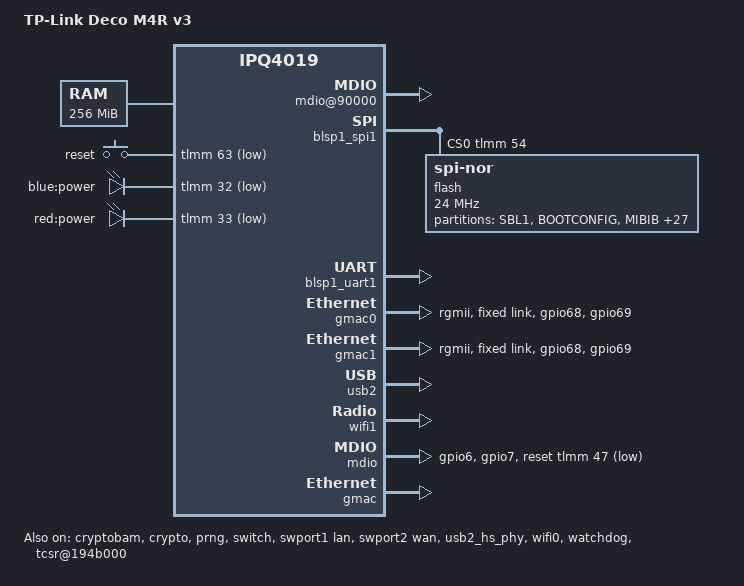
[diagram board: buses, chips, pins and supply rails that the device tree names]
// SPDX-License-Identifier: GPL-2.0-or-later OR MIT

/dts-v1/;

#include "qcom-ipq4019.dtsi"
#include <dt-bindings/gpio/gpio.h>
#include <dt-bindings/input/input.h>
#include <dt-bindings/leds/common.h>
#include <dt-bindings/soc/qcom,tcsr.h>

/ {
    model = "TP-Link Deco M4R v3";
    compatible = "tplink,deco-m4r-v3", "qcom,ipq4019";

    aliases {
        led-boot = &led_power_blue;
        led-failsafe = &led_power_red;
        led-running = &led_power_blue;
        led-upgrade = &led_power_blue;
        label-mac-device = &gmac0;
		    serial0 = &blsp1_uart1;
        ethernet0 = &gmac0;
        ethernet1 = &gmac1;
    };

    chosen {
        /* stdout-path = "serial0:115200n8"; TODO: check */
        bootargs-append = " swiotlb=1 coherent_pool=2M";
		    /* bootargs-append = " rcu_nocbs=0-3 isolcpus=3 quiet loglevel=4"; TODO: check */
    };

    memory {
        device_type = "memory";
        reg = <0x80000000 0x10000000>; /* 256MB DDR3L */
    };

    keys {
        compatible = "gpio-keys";

        reset {
            label = "reset";
            gpios = <&tlmm 63 GPIO_ACTIVE_LOW>;
			      /* gpios = <&tlmm 18 GPIO_ACTIVE_LOW>; TODO: check */
            linux,code = <KEY_RESTART>;
			      /* debounce-interval = <60>; TODO: check */
        };
    };

    leds {
        compatible = "gpio-leds";

        led_power_blue: power_blue {
            label = "blue:power";
            gpios = <&tlmm 32 GPIO_ACTIVE_LOW>;
            default-state = "keep";
        };

        led_power_red: power_red {
            label = "red:power";
            gpios = <&tlmm 33 GPIO_ACTIVE_LOW>;
        };

        /* led_red: led-0 { TODO:check */
        /*   label = "rgb:red"; */
        /*   gpios = <&tlmm 36 GPIO_ACTIVE_LOW>; */
        /*   color = <LED_COLOR_ID_RED>; */
        /*   function = LED_FUNCTION_STATUS; */
        /* }; */
        /**/
        /* led_green: led-1 { */
        /*   label = "rgb:green"; */
        /*   gpios = <&tlmm 37 GPIO_ACTIVE_LOW>; */
        /*   color = <LED_COLOR_ID_GREEN>; */
        /*   function = LED_FUNCTION_POWER; */
        /* }; */
        /**/
        /* led_blue: led-2 { */
        /*   label = "rgb:blue"; */
        /*   gpios = <&tlmm 38 GPIO_ACTIVE_LOW>; */
        /*   color = <LED_COLOR_ID_BLUE>; */
        /*   function = LED_FUNCTION_WPS; */
        /* }; */

    };
};

&blsp1_spi1 {
    status = "okay";
    cs-gpios = <&tlmm 54 GPIO_ACTIVE_HIGH>, <&tlmm 59 GPIO_ACTIVE_HIGH>;

    /* pinctrl-0 = <&spi_0_pins>; TODO:check */
    /* pinctrl-names = "default"; */
    /* status = "okay"; */
    /* cs-gpios = <&tlmm 12 GPIO_ACTIVE_HIGH>; */

    /* flash0: flash@0 { TODO:check */
    flash@0 {
        compatible = "jedec,spi-nor";
        reg = <0>;
        spi-max-frequency = <24000000>;
        // Optimized frequency for XM25QH256B - verified from datasheet
		    /* spi-max-frequency = <50000000>; */

        partitions {
            compatible = "fixed-partitions";
            #address-cells = <1>;
            #size-cells = <1>;

            partition@0 {
                label = "SBL1";
                reg = <0x000000 0x030000>;
                read-only;
            };

            partition@30000 {
                label = "BOOTCONFIG";
                reg = <0x030000 0x010000>;
                read-only;
            };

            partition@40000 {
                label = "MIBIB";
                reg = <0x040000 0x010000>;
                read-only;
            };

            partition@50000 {
                label = "BOOTCONFIG1";
                reg = <0x050000 0x010000>;
                read-only;
            };

            partition@60000 {
                label = "QSEE";
                reg = <0x060000 0x060000>;
                read-only;
            };

            partition@c0000 {
                label = "CDT";
                reg = <0x0c0000 0x010000>;
                read-only;
            };

            partition@d0000 {
                label = "DDRPARAMS";
                reg = <0x0d0000 0x010000>;
                read-only;
            };

            partition@e0000 {
                label = "uboot-env";
                reg = <0x0e0000 0x010000>;
            };

            partition@f0000 {
                label = "u-boot";
                reg = <0x0f0000 0x080000>;
                read-only;
            };

      			/* art: partition@170000 { TODO: check */
            partition@170000 {
                label = "art";
                reg = <0x170000 0x010000>;
                read-only;
                
                nvmem-layout {
                    compatible = "fixed-layout";
                    #address-cells = <1>;
                    #size-cells = <1>;

                    macaddr_art_0: macaddr@0 {
                      	/* compatible = "mac-base"; TODO: check */
                        reg = <0x0 0x6>;
                        /* #nvmem-cell-cells = <1>; TODO: check */

                    };

                    macaddr_art_6: macaddr@6 { // TODO: check 
                        reg = <0x6 0x6>;
                    };

                    precal_art_1000: precal@1000 {
                        reg = <0x1000 0x2f20>;
                    };

                    precal_art_5000: precal@5000 {
                        reg = <0x5000 0x2f20>;
                    };
                };
            };

            /* Configuration partitions */
            partition@180000 {
                label = "default-mac";
                reg = <0x180000 0x001000>;
                read-only;
            };

            partition@181000 {
                label = "device-id";
                reg = <0x181000 0x001000>;
                read-only;
            };

            partition@182000 {
                label = "product-info";
                reg = <0x182000 0x006000>;
                read-only;
            };

            partition@190000 {
                label = "support-list";
                reg = <0x190000 0x010000>;
                read-only;
            };

            partition@200000 {
                label = "user-config";
                reg = <0x200000 0x010000>;
                /* read-only; TODO: check */

            };

            partition@210000 {
                label = "device-config";
                reg = <0x210000 0x010000>;
                /* read-only; TODO: check */

            };

            partition@220000 {
                label = "group-info";
                reg = <0x220000 0x010000>;
                /* read-only; TODO: check */

            };

            partition@230000 {
                label = "partition-table";
                /* label = "partition-table0"; TODO: check */

                reg = <0x230000 0x002000>;
                read-only;
            };

            /* SLOT 0 - Stock firmware */
            partition@240000 {
                label = "os-image";
                /* label = "os-image0"; TODO: check */
                reg = <0x240000 0x320000>;
                /* read-only; TODO: check */

            };

            partition@560000 {
                label = "file-system";
                /* label = "file-system0"; TODO: check */
                reg = <0x560000 0xa00000>;
                /* read-only; TODO: check */
            };

            partition@f60000 {
                label = "soft-version";
                /* label = "soft-version0"; TODO: check */
                reg = <0xf60000 0x010000>;
                /* read-only; TODO: check */
            };

            partition@f70000 {
                label = "profile";
                /* label = "profile0"; TODO: check */
                reg = <0xf70000 0x010000>;
                /* read-only; TODO: check */
            };

            partition@f80000 {
                label = "default-config";
                /* label = "default-config0"; TODO: check */
                reg = <0xf80000 0x010000>;
                /* read-only; TODO: check */
            };

            partition@f90000 {
                label = "partition-table1";
                reg = <0xf90000 0x002000>;
                read-only;
            };

            partition@fa0000 {
                label = "fs-uboot1";
                reg = <0xfa0000 0x080000>;
                read-only;
            };

            /* SLOT 1 - OpenWrt firmware with MTD splitting */
            partition@1020000 {
                label = "firmware";
                reg = <0x1020000 0xfa0000>;
                compatible = "tplink,firmware";
            };

            partition@1fc0000 {
                label = "soft-version1";
                reg = <0x1fc0000 0x010000>;
            };

            partition@1fd0000 {
                label = "profile1";
                reg = <0x1fd0000 0x010000>;
            };

            partition@1fe0000 {
                label = "default-config1";
                reg = <0x1fe0000 0x010000>;
            };

            partition@1ff0000 {
                label = "url-sig";
                reg = <0x1ff0000 0x010000>;
                read-only; // TODO: check if needed
            };
        };
    };
};
// TODO: check soc
	soc { 
    rng@22000 {
        status = "okay";
    };

    mdio@90000 {
        status = "okay";
    };
      crypto@8e3a000 {
        status = "okay";
    };

    watchdog@b017000 {
        status = "okay";
    };

    ess-switch@c000000 {
        status = "okay";
    };

    edma@c080000 {
        status = "okay";
    };

		// TCSR configurations - critical for IPQ4019 performance
		tcsr@194b000 {
			compatible = "qcom,tcsr";
			reg = <0x194b000 0x100>;
			qcom,usb-hsphy-mode-select = <TCSR_USB_HSPHY_HOST_MODE>;
			status = "okay";
		};

		// WiFi global configuration - optimized for mesh performance
		tcsr@1949000 {
			compatible = "qcom,tcsr";
			reg = <0x1949000 0x100>;
			qcom,wifi_glb_cfg = <TCSR_WIFI_GLB_CFG>;
		};

		// WiFi NOC memory type - critical for performance
		tcsr@1957000 {
			compatible = "qcom,tcsr";
			reg = <0x1957000 0x100>;
			qcom,wifi_noc_memtype_m0_m2 = <TCSR_WIFI_NOC_MEMTYPE_M0_M2>;
		};

		// ESS interface select - enables PSGMII for gigabit ethernet
		ess_tcsr@1953000 {
			compatible = "qcom,tcsr";
			reg = <0x1953000 0x1000>;
			qcom,ess-interface-select = <TCSR_ESS_PSGMII>;
		};
	};


// TODO: cehck if needed
&blsp1_uart1 {
  	/* pinctrl-0 = <&serial_pins>; TODO: check */
  	/* pinctrl-names = "default"; */

    status = "okay";
};

// TODO: check if needed
&cryptobam {
    status = "okay";
};
// TODO: check if corrrect
&blsp_dma {
	status = "okay";
};



// Hardware crypto acceleration
&crypto {
	status = "okay";
};


&prng {
	status = "okay";
};


&gmac0 {
    status = "okay";
    phy-mode = "rgmii";
    qcom,id = <0>;
    nvmem-cells = <&macaddr_art_0>;
    nvmem-cell-names = "mac-address";

    pinctrl-0 = <&rgmii_pins>;
    pinctrl-names = "default";

    fixed-link {
        speed = <1000>;
        full-duplex;
    };
};

&gmac1 {
    status = "okay";
    phy-mode = "rgmii";
    qcom,id = <1>;
    nvmem-cells = <&macaddr_art_6>;
    nvmem-cell-names = "mac-address";

    pinctrl-0 = <&rgmii_pins>;
    pinctrl-names = "default";

    fixed-link {
        speed = <1000>;
        full-duplex;
    };
};

&switch {
    status = "okay";
};

/* &swport4 { TODO: check */

&swport1 {
    status = "okay";
    label = "lan";
  	/*  nvmem-cell-names = "mac-address"; TODO: check */
  	/* nvmem-cells = <&macaddr_art_0 0>; */

};

/* &swport5 { TODO:check */
&swport2 {
    status = "okay";
    label = "wan";
	  /*  nvmem-cell-names = "mac-address"; TODO: check */
	  /* nvmem-cells = <&macaddr_art_0 1>; */

};

&tlmm {
    rgmii_pins: rgmii_pinmux { // TODO: check 
        mux {
            pins = "gpio68", "gpio69";
            function = "rgmii";
            bias-disable;
        };
    };

    serial_pins: serial_pinmux {
        mux {
            pins = "gpio60", "gpio61";
            /* pins = "gpio16", "gpio17"; TODO:check */

            function = "blsp_uart0";
            bias-disable;
        };
    };

// TODO: check 
    mdio_pins: mdio_pinmux { TODO:check
        mux_1 {
          pins = "gpio6";
          function = "mdio";
          bias-pull-up;
        };
        mux_2 {
          pins = "gpio7";  
          function = "mdc";
          bias-pull-up;
        };
      };

    wifi_pins: wifi_pinmux { TODO: check
        // WiFi priority GPIO for coexistence
        pinmux_1 {
          pins = "gpio42";
          function = "gpio";
          drive-strength = <8>;
          bias-pull-up;
          output-high;
        };

        // WiFi coexistence interface
        pinmux_2 {
          pins = "gpio43"; 
          function = "wifi_wci1";
          drive-strength = <6>;
          bias-pull-up;
        };

        // Additional WiFi control GPIO
        pinmux_3 {
          pins = "gpio37";
          function = "wcss0_dbg16";
          drive-strength = <6>;
          bias-pull-up;
          output-high;
        };
      };
// TODO: check  until


    spi_0_pins: spi_0_pinmux {
        pin {
            pins = "gpio55", "gpio56", "gpio57";
            /* pins = "gpio12", "gpio13", "gpio14", "gpio15"; TODO:check */
            /* drive-strength = <12>; */


            function = "blsp_spi0";
            bias-disable;
        };

        pin_cs {
            pins = "gpio54", "gpio59";
            function = "gpio";
            bias-disable;
            output-high;
        };
    };
};

&usb2_hs_phy {
    status = "okay";
    /* status = "disabled"; TODO: check */
};

&usb2 {
    status = "okay";
    /* status = "disabled"; TODO: check */

};

&wifi0 {
    status = "okay";
    nvmem-cells = <&precal_art_1000>;
    nvmem-cell-names = "pre-calibration";
    qcom,ath10k-calibration-variant = "tplink-deco-m4r-v3";

    // TODO: check
    pinctrl-0 = <&wifi_pins>;
    pinctrl-names = "default";
    nvmem-cell-names = "pre-calibration", "mac-address";
    nvmem-cells = <&precal_art_1000>, <&macaddr_art_0 2>;
    // Enable coexistence features from GPL source
    qcom,coexist-support = <1>;
    qcom,coexist-gpio = <42>;

    // Optimize for 2.4GHz performance  
    ieee80211-freq-limit = <2402000 2482000>;
    // TODO: check until

};

&wifi1 {
    status = "okay";
    nvmem-cells = <&precal_art_5000>;
    nvmem-cell-names = "pre-calibration";
    qcom,ath10k-calibration-variant = "tplink-deco-m4r-v3";

    // TODO: check
  	nvmem-cell-names = "pre-calibration", "mac-address";
  	nvmem-cells = <&precal_art_5000>, <&macaddr_art_0 3>;
  	// Optimize for 5GHz performance
  	ieee80211-freq-limit = <5170000 5835000>;
    // TODO: check until 


};

// Gigabit Ethernet with DSA TODO: check
&mdio {
	status = "okay";
	pinctrl-0 = <&mdio_pins>;
	pinctrl-names = "default";
	reset-gpios = <&tlmm 47 GPIO_ACTIVE_LOW>;
	reset-delay-us = <2000>;
};
// TODO: check
&watchdog {
	status = "okay";
};

// TODO: check
&gmac {
	status = "okay";
};
// TODO: check
// Disable USB - no physical ports, saves power and space
&usb3 {
	status = "disabled";
};

// TODO: check
&usb3_hs_phy {
	status = "disabled";
};

// TODO: check
&usb3_ss_phy {
	status = "disabled";
};

